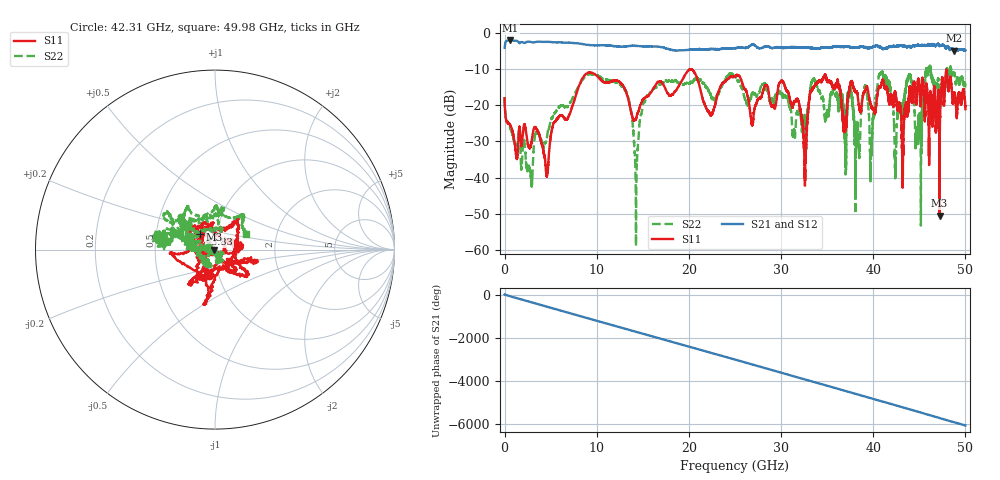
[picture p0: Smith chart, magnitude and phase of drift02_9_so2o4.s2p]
!Created with skrf (http://scikit-rf.org).
# Hz S RI R 50.0
!freq ReS11 ImS11 ReS21 ImS21 ReS12 ImS12 ReS22 ImS22
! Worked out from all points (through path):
!   10001 points, 300 kHz to 50 GHz, reference 50 ohm
!   highest |S21| = -2.00 dB at 605.3 MHz (marker M1); lowest = -4.8 dB at 48.76 GHz (marker M2)
!   group delay of S21, straight-line fit = 337 ps
!   lowest |S11| = -50.6 dB at 47.2 GHz (marker M3), VSWR 1.01, Z = 49.7 - j0.036 ohm
!   |S11| at or under -10 dB: start of sweep to 20.06 GHz; 20.20913 GHz to 20.21248 GHz (3.346 MHz wide, 0.0166 % of centre); 20.24 GHz to end of sweep (the widest 3 of 4)
!   |S22| runs from -59.0 to -9.0 dB; largest |S21 - S12| = 0.03
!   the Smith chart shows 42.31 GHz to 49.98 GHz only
!   S11 on the Smith chart (normalised r, x): 42.31 GHz: 0.90, -0.26; 43.83 GHz: 0.83, +0.15; 49.98 GHz: 1.16, -0.15
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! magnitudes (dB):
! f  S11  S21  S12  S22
! 300 kHz  -18.0  -4.1  -4.0  -17.7
! 605.3 MHz  -25.5  -2.0  -2.0  -26.1
! 2.785 GHz  -31.4  -2.4  -2.4  -38.5
! 4.565 GHz  -39.7  -2.4  -2.4  -29.3
! 8.335 GHz  -13.0  -2.9  -2.9  -13.2
! 13.02 GHz  -15.3  -3.7  -3.6  -15.6
! 14.28 GHz  -23.7  -3.5  -3.5  -48.0
! 16.67 GHz  -13.4  -3.7  -3.7  -14.5
! 25 GHz  -12.0  -4.1  -4.1  -12.0
! 30.16 GHz  -13.3  -4.1  -4.1  -17.1
! 32.56 GHz  -40.1  -3.9  -4.0  -23.9
! 33.34 GHz  -15.8  -4.1  -4.0  -13.7
! 38.28 GHz  -16.9  -3.9  -3.9  -25.0
! 41.67 GHz  -18.6  -3.8  -3.9  -13.2
! 42.31 GHz  -16.7  -3.6  -3.6  -28.5
! 43.83 GHz  -18.3  -3.6  -3.5  -12.4
! 44.99 GHz  -14.3  -3.4  -3.4  -22.7
! 45.91 GHz  -18.3  -3.2  -3.2  -10.5
! 47.2 GHz  -50.6  -3.5  -3.5  -16.7
! 48.76 GHz  -17.0  -4.8  -4.8  -10.9
! 49.98 GHz  -19.9  -4.6  -4.6  -14.2
! 50 GHz  -21.0  -4.7  -4.6  -14.7
